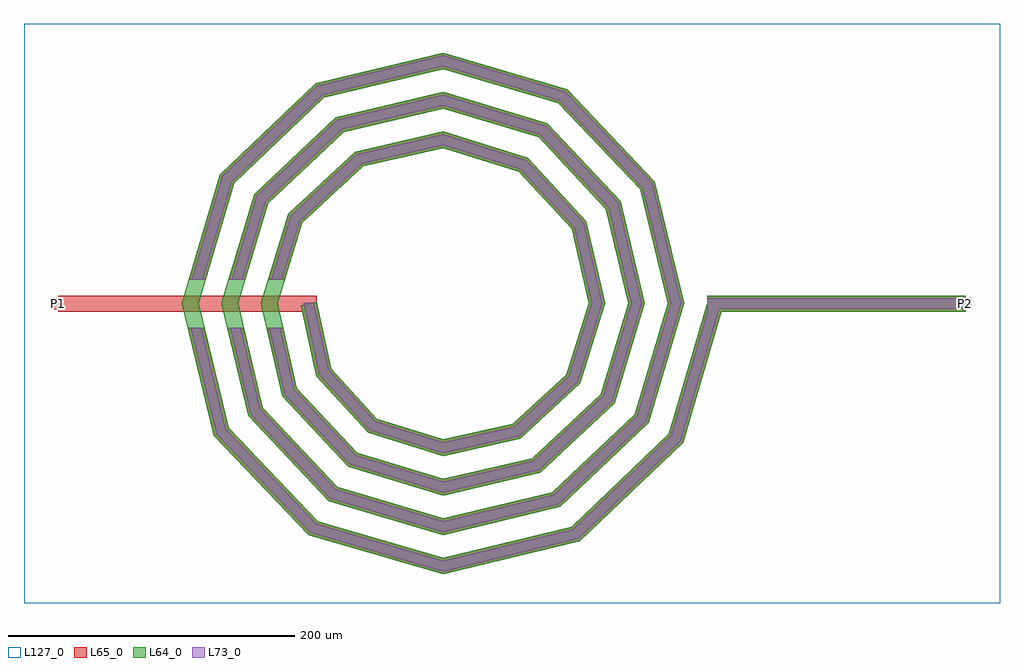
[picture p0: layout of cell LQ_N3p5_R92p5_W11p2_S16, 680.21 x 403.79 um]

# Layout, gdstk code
import gdstk
lib = gdstk.Library(unit=1e-6, precision=1e-09)
def R(c, l, rs):  # rectangles x0, y0, x1, y1
    for r in rs: c.add(gdstk.rectangle(r[:2], r[2:], *l))
def P(c, l, *ps):  # polygons
    for p in ps: c.add(gdstk.Polygon(p, *l))
L64_0 = (64, 0)
L65_0 = (65, 0)
L73_0 = (73, 0)
L127_0 = (127, 0)

lq_n3p5_r92p5_w11p2_s16 = lib.new_cell('LQ_N3p5_R92p5_W11p2_S16')
R(lq_n3p5_r92p5_w11p2_s16, L64_0, [(184.253,-5.6,364.253,5.6)])
P(lq_n3p5_r92p5_w11p2_s16, L64_0, [(-77.866,-45.255),(-45.958,-80.107),(0.247,-94.646),(48.678,-83.831),(86.055,-49.411),(101.524,0.231),(89.794,52.104),(52.862,92.004),(0.217,108.401),(-55.531,95.757),(-97.953,56.312),(-115.279,0.205),(-101.719,-58.96),(-59.761,-103.904),(0.194,-122.157),(62.389,-107.681),(109.855,-63.209),(129.034,0.184),(113.642,65.82),(66.656,115.807),(0.175,135.912),(-69.251,119.603),(-121.759,70.102),(-142.79,0.167),(-125.563,-72.684),(-73.547,-127.711),(0.159,-149.668),(76.116,-131.523),(133.664,-76.992),(156.546,0.153),(137.483,79.55),(80.437,139.618),(0.147,163.423),(-82.983,143.442),(-145.571,83.881),(-170.301,0.141),(-149.401,-86.417),(-87.324,-151.525),(0.136,-177.179),(89.852,-155.36),(157.479,-90.768),(184.478,1.572),(195.228,-1.572),(167.386,-96.793),(95.416,-165.534),(0.136,-188.772),(-93.358,-161.427),(-159.579,-91.973),(-181.893,0.141),(-155.467,89.924),(-88.529,153.626),(0.147,175.015),(86.49,149.508),(147.672,85.084),(168.137,0.153),(143.548,-83.056),(81.64,-141.719),(0.159,-161.259),(-79.623,-137.588),(-135.765,-78.194),(-154.381,0.167),(-131.627,76.191),(-74.749,129.813),(0.175,147.503),(72.759,125.666),(123.86,71.302),(140.624,0.184),(119.705,-69.328),(67.855,-117.908),(0.194,-133.746),(-65.898,-113.743),(-111.957,-64.406),(-126.868,0.205),(-107.781,62.468),(-60.957,106.006),(0.217,119.989),(59.04,101.817),(100.056,57.506),(113.111,0.231),(95.853,-55.613),(54.054,-94.106),(0.247,-106.232),(-52.188,-89.888),(-88.158,-50.599),(-99.03,-1.204),(-88.092,1.204)])
R(lq_n3p5_r92p5_w11p2_s16, L65_0, [(-267.961,-5.6,-87.961,5.6), (184.253,-5.6,364.253,5.6), (-271.961,-4,-263.961,4), (360.253,-4,368.253,4)])
P(lq_n3p5_r92p5_w11p2_s16, L65_0, [(-149.401,-86.417),(-87.324,-151.525),(0.136,-177.179),(89.852,-155.36),(157.479,-90.768),(184.479,1.572),(195.228,-1.572),(167.386,-96.793),(95.416,-165.534),(0.136,-188.772),(-93.358,-161.427),(-159.579,-91.973),(-177.79,-16.8),(-166.266,-16.8)],
  [(-125.563,-72.684),(-73.547,-127.712),(0.16,-149.668),(76.116,-131.523),(133.664,-76.992),(156.546,0.153),(137.483,79.55),(80.437,139.618),(0.147,163.423),(-82.983,143.442),(-145.571,83.881),(-165.315,16.8),(-176.99,16.8),(-155.468,89.924),(-88.529,153.626),(0.147,175.015),(86.49,149.508),(147.672,85.085),(168.137,0.153),(143.548,-83.056),(81.64,-141.719),(0.16,-161.259),(-79.623,-137.588),(-135.765,-78.194),(-150.35,-16.8),(-138.839,-16.8)],
  [(-101.719,-58.96),(-59.761,-103.904),(0.194,-122.157),(62.389,-107.681),(109.855,-63.209),(129.034,0.184),(113.642,65.82),(66.656,115.807),(0.175,135.912),(-69.251,119.603),(-121.759,70.102),(-137.712,16.8),(-149.403,16.8),(-131.627,76.191),(-74.749,129.813),(0.175,147.503),(72.759,125.667),(123.86,71.302),(140.624,0.184),(119.705,-69.328),(67.855,-117.908),(0.194,-133.746),(-65.898,-113.743),(-111.957,-64.406),(-122.943,-16.8),(-111.449,-16.8)],
  [(-45.958,-80.107),(0.247,-94.646),(48.678,-83.831),(86.055,-49.411),(101.524,0.231),(89.794,52.104),(52.863,92.004),(0.217,108.401),(-55.531,95.757),(-97.953,56.312),(-110.066,16.8),(-121.78,16.8),(-107.781,62.468),(-60.957,106.006),(0.217,119.989),(59.04,101.817),(100.056,57.506),(113.111,0.231),(95.853,-55.613),(54.054,-94.106),(0.247,-106.232),(-52.188,-89.888),(-88.158,-50.599),(-99.03,-1.204),(-88.092,1.204),(-77.866,-45.255)])
R(lq_n3p5_r92p5_w11p2_s16, L73_0, [(184.253,-3.6,364.253,3.6)])
P(lq_n3p5_r92p5_w11p2_s16, L73_0, [(-151.219,-87.409),(-88.402,-153.293),(0.087,-179.249),(90.846,-157.177),(159.248,-91.844),(186.398,1.01),(193.309,-1.01),(165.617,-95.717),(94.423,-163.717),(0.087,-186.702),(-92.281,-159.659),(-157.762,-90.981),(-175.732,-16.8),(-168.324,-16.8)],
  [(-127.385,-73.668),(-74.632,-129.475),(0.103,-151.738),(77.103,-133.344),(135.429,-78.075),(158.616,0.098),(139.302,80.538),(81.518,141.384),(0.094,165.493),(-83.974,145.261),(-147.338,84.96),(-167.4,16.8),(-174.905,16.8),(-153.7,88.845),(-87.539,151.807),(0.094,172.945),(85.409,147.742),(145.852,84.096),(166.067,0.098),(141.783,-81.974),(80.653,-139.898),(0.103,-159.189),(-78.538,-135.824),(-133.944,-77.21),(-148.295,-16.8),(-140.894,-16.8)],
  [(-103.547,-59.932),(-60.857,-105.661),(0.125,-124.226),(63.365,-109.507),(111.614,-64.302),(131.104,0.118),(115.467,66.799),(67.746,117.567),(0.113,137.982),(-70.233,121.426),(-123.521,71.189),(-139.799,16.8),(-147.315,16.8),(-129.865,75.104),(-73.767,127.989),(0.113,145.433),(71.669,123.906),(122.036,70.323),(138.555,0.118),(117.946,-68.235),(66.879,-116.082),(0.125,-131.677),(-64.802,-111.986),(-110.129,-63.434),(-120.891,-16.8),(-113.502,-16.8)],
  [(-47.071,-81.854),(0.159,-96.715),(49.638,-85.666),(87.804,-50.519),(103.593,0.149),(91.627,53.069),(53.966,93.756),(0.14,110.471),(-56.5,97.587),(-99.708,57.412),(-112.158,16.8),(-119.689,16.8),(-106.026,61.369),(-59.988,104.176),(0.14,117.92),(57.937,100.065),(98.223,56.541),(111.042,0.149),(94.104,-54.506),(53.094,-92.271),(0.159,-104.163),(-51.076,-88.141),(-86.32,-49.645),(-97.077,0.774),(-90.045,0.774),(-79.704,-46.209)])
R(lq_n3p5_r92p5_w11p2_s16, L127_0, [(-291.961,-208.772,388.253,195.015)])
lq_n3p5_r92p5_w11p2_s16.add(gdstk.Label('P2', (364.253,0), layer=65, texttype=0))
lq_n3p5_r92p5_w11p2_s16.add(gdstk.Label('P1', (-267.961,0), layer=65, texttype=0))
lq_n3p5_r92p5_w11p2_s16.add(gdstk.Label('P2', (368.253,0), layer=145, texttype=0))
lq_n3p5_r92p5_w11p2_s16.add(gdstk.Label('P1', (-271.961,0), layer=145, texttype=0))

lib.write_gds('LQ_N3p5_R92p5_W11p2_S16.gds')
